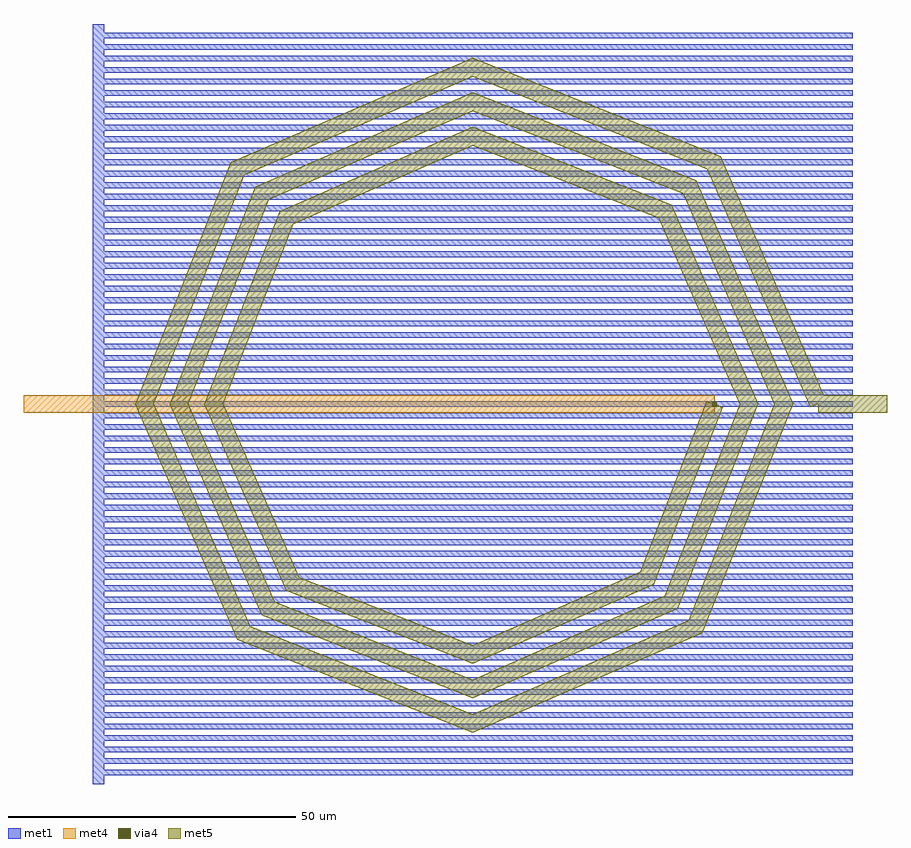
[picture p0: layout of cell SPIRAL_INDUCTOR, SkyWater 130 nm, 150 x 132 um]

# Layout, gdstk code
import gdstk
lib = gdstk.Library(unit=1e-6, precision=1e-09)
def R(c, l, rs):  # rectangles x0, y0, x1, y1
    for r in rs: c.add(gdstk.rectangle(r[:2], r[2:], *l))
def A(c, l, x, y, w, h, nx, ny, dx, dy):  # array of equal rectangles
    R(c, l, [(x+i*dx, y+j*dy, x+i*dx+w, y+j*dy+h) for i in range(nx) for j in range(ny)])
met1 = (68, 20)
met4 = (71, 20)
via4 = (71, 44)
met5 = (72, 20)

spiral_inductor = lib.new_cell('SPIRAL_INDUCTOR')
A(spiral_inductor, met1, -66, -64.5, 132, 1, 1, 65, 0, 2)
R(spiral_inductor, met1, [(-66,-66,-64,66)])
R(spiral_inductor, via4, [(41.6,-0.4,42.4,0.4)])
spiral_inductor.add(gdstk.FlexPath([(42,0),(-78,0)], 3, ends="flush", simple_path=True, layer=71, datatype=20))  # met4
spiral_inductor.add(gdstk.FlexPath([(60,0),(41.896,41.896),(0,58.5),(-40.835,40.835),(-57,0),(-39.775,-39.775),(0,-55.5),(38.714,-38.714),(54,0),(37.653,37.653),(0,52.5),(-36.593,36.593),(-51,0),(-35.532,-35.532),(0,-49.5),(34.471,-34.471),(48,0),(33.411,33.411),(0,46.5),(-32.35,32.35),(-45,0),(-31.289,-31.289),(0,-43.5),(30.229,-30.229),(42,0)], 3, ends="flush", simple_path=True, layer=72, datatype=20))  # met5
spiral_inductor.add(gdstk.FlexPath([(60,0),(72,0)], 3, ends="flush", simple_path=True, layer=72, datatype=20))  # met5

lib.write_gds('SPIRAL_INDUCTOR.gds')
